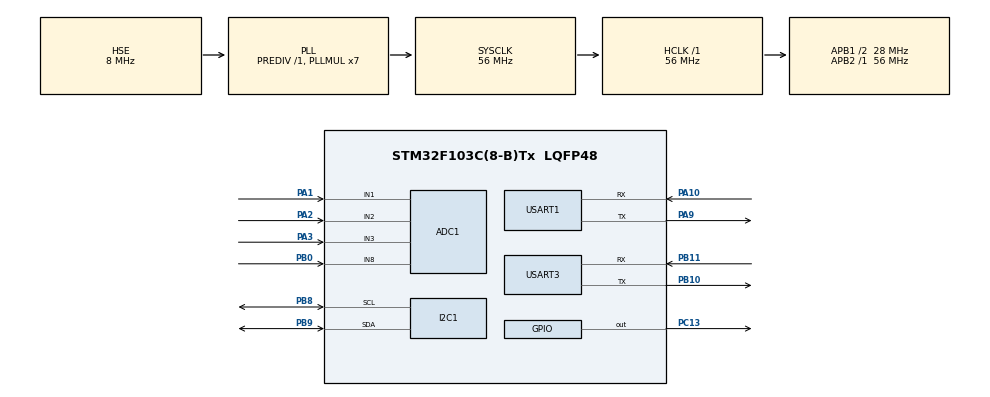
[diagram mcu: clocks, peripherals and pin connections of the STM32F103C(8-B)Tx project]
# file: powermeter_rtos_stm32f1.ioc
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ADC1.Channel-1\#ChannelRegularConversion=ADC_CHANNEL_1
ADC1.Channel-2\#ChannelRegularConversion=ADC_CHANNEL_2
ADC1.Channel-3\#ChannelRegularConversion=ADC_CHANNEL_3
ADC1.Channel-4\#ChannelRegularConversion=ADC_CHANNEL_8
ADC1.ContinuousConvMode=ENABLE
ADC1.NbrOfConversion=4
ADC1.NbrOfConversionFlag=1
ADC1.Rank-1\#ChannelRegularConversion=1
ADC1.Rank-2\#ChannelRegularConversion=2
ADC1.Rank-3\#ChannelRegularConversion=3
ADC1.Rank-4\#ChannelRegularConversion=4
ADC1.SamplingTime-1\#ChannelRegularConversion=ADC_SAMPLETIME_28CYCLES_5
ADC1.SamplingTime-2\#ChannelRegularConversion=ADC_SAMPLETIME_28CYCLES_5
ADC1.SamplingTime-3\#ChannelRegularConversion=ADC_SAMPLETIME_28CYCLES_5
ADC1.SamplingTime-4\#ChannelRegularConversion=ADC_SAMPLETIME_28CYCLES_5
ADC1.master=1
Dma.ADC1.0.Direction=DMA_PERIPH_TO_MEMORY
Dma.ADC1.0.Instance=DMA1_Channel1
Dma.ADC1.0.MemDataAlignment=DMA_MDATAALIGN_WORD
Dma.ADC1.0.MemInc=DMA_MINC_ENABLE
Dma.ADC1.0.Mode=DMA_CIRCULAR
Dma.ADC1.0.PeriphDataAlignment=DMA_PDATAALIGN_WORD
Dma.ADC1.0.PeriphInc=DMA_PINC_DISABLE
Dma.ADC1.0.Priority=DMA_PRIORITY_HIGH
Dma.Request0=ADC1
FREERTOS.Tasks01=task_ADC,0,128,StartADC,Default,NULL,Dynamic,NULL,NULL;task_nextion,-1,128,StartNextion,Default,NULL,Dynamic,NULL,NULL;task_bluetooth,-2,128,StartBluetooth,Default,NULL,Dynamic,NULL,NULL
FREERTOS.configUSE_NEWLIB_REENTRANT=1
I2C1.I2C_Mode=I2C_Fast
Mcu.Family=STM32F1
Mcu.Name=STM32F103C(8-B)Tx
Mcu.Package=LQFP48
NVIC.DMA1_Channel1_IRQn=true\:5\:0\:false\:false\:true\:true\:false\:true\:true
NVIC.PriorityGroup=NVIC_PRIORITYGROUP_4
NVIC.TIM3_IRQn=true\:15\:0\:false\:false\:true\:false\:false\:true\:true
NVIC.TimeBase=TIM3_IRQn
NVIC.TimeBaseIP=TIM3
NVIC.USART1_IRQn=true\:5\:0\:false\:false\:true\:true\:true\:true\:true
PA1.Signal=ADCx_IN1
PA10.Mode=Asynchronous
PA10.Signal=USART1_RX
PA2.Signal=ADCx_IN2
PA3.Signal=ADCx_IN3
PA9.Mode=Asynchronous
PA9.Signal=USART1_TX
PB0.Signal=ADCx_IN8
PB10.Mode=Asynchronous
PB10.Signal=USART3_TX
PB11.Mode=Asynchronous
PB11.Signal=USART3_RX
PB8.Mode=I2C
PB8.Signal=I2C1_SCL
PB9.Mode=I2C
PB9.Signal=I2C1_SDA
PC13-TAMPER-RTC.Signal=GPIO_Output
PD0-OSC_IN.Mode=HSE-External-Oscillator
PD0-OSC_IN.Signal=RCC_OSC_IN
PD1-OSC_OUT.Mode=HSE-External-Oscillator
PD1-OSC_OUT.Signal=RCC_OSC_OUT
ProjectManager.HeapSize=0x200
ProjectManager.StackSize=0x400
ProjectManager.TargetToolchain=STM32CubeIDE
RCC.ADCPresc=RCC_ADCPCLK2_DIV4
RCC.AHBFreq_Value=56000000
RCC.APB1CLKDivider=RCC_HCLK_DIV2
RCC.APB1Freq_Value=28000000
RCC.APB1TimFreq_Value=56000000
RCC.APB2Freq_Value=56000000
RCC.APB2TimFreq_Value=56000000
RCC.HCLKFreq_Value=56000000
RCC.PLLMUL=RCC_PLL_MUL7
RCC.PLLSourceVirtual=RCC_PLLSOURCE_HSE
RCC.SYSCLKFreq_VALUE=56000000
RCC.SYSCLKSource=RCC_SYSCLKSOURCE_PLLCLK
RCC.USBFreq_Value=56000000
SH.ADCx_IN1.0=ADC1_IN1,IN1
SH.ADCx_IN2.0=ADC1_IN2,IN2
SH.ADCx_IN3.0=ADC1_IN3,IN3
SH.ADCx_IN8.0=ADC1_IN8,IN8
USART1.VirtualMode=VM_ASYNC
USART3.VirtualMode=VM_ASYNC
VP_FREERTOS_VS_CMSIS_V1.Mode=CMSIS_V1
VP_SYS_VS_ND.Mode=No_Debug
VP_SYS_VS_tim3.Mode=TIM3
board=custom

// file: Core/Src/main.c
/* USER CODE BEGIN Header */
/**
 ******************************************************************************
 * @file           : main.c
 * @brief          : Main program body
 ******************************************************************************
 * @attention
 *
 * Copyright (c) 2023 STMicroelectronics.
 * All rights reserved.
 *
 * This software is licensed under terms that can be found in the LICENSE file
 * in the root directory of this software component.
 * If no LICENSE file comes with this software, it is provided AS-IS.
 *
 ******************************************************************************
 */
/* USER CODE END Header */
#include "main.h"
#include "cmsis_os.h"

/* USER CODE BEGIN Includes */
#include <stdio.h>
/* USER CODE END Includes */

/* USER CODE BEGIN PD */
#define DS3231 0x68 //timer
/* USER CODE END PD */

ADC_HandleTypeDef hadc1;
DMA_HandleTypeDef hdma_adc1;

I2C_HandleTypeDef hi2c1;

UART_HandleTypeDef huart1;
UART_HandleTypeDef huart3;

osThreadId task_ADCHandle;
osThreadId task_nextionHandle;
osThreadId task_bluetoothHandle;
/* USER CODE BEGIN PV */
#ifdef __GNUC__
#define PUTCHAR_PROTOTYPE int __io_putchar(int ch)
#else
#define PUTCHAR_PROTOTYPE int fputc(int ch, FILE *f)
#endif

PUTCHAR_PROTOTYPE {
	HAL_UART_Transmit(&huart3, (uint8_t*) &ch, 1, HAL_MAX_DELAY);
	return ch;
}
uint32_t value[4];//adc channels
uint16_t AC_AMP = 0;
uint16_t AC_VOLT = 0;
uint16_t DC_AMP = 0;
uint16_t DC_VOLT = 0;
uint8_t Cmd_End[] = { 0xff, 0xff, 0xff };
uint16_t delay_sec = 100;
uint8_t rx_buff[7];
uint8_t DEVID = 0;
uint8_t time_buff[7];
typedef struct {
	uint8_t seconds;
	uint8_t minutes;
	uint8_t hour;
	uint8_t dayofweek;
	uint8_t dayofmonth;
	uint8_t month;
	uint8_t year;
} TIME;

TIME time;
char buffer[50]; //save formated messag

uint8_t tempBuff[2];
float TEMP; //protect with mutex
float filter_AC_AMP = 0; //protect with mutex
float filter_AC_VOLT = 0; //protect with mutex
float filter_DC_AMP = 0; //protect with mutex
float filter_DC_VOLT = 0; //protect with mutex

static SemaphoreHandle_t fac_amp_mutex;
static SemaphoreHandle_t fac_volt_mutex;
static SemaphoreHandle_t fdc_amp_mutex;
static SemaphoreHandle_t fdc_volt_mutex;

ADC_ChannelConfTypeDef sConfig = { 0 };

/* USER CODE END PV */

void SystemClock_Config(void);
static void MX_GPIO_Init(void);
static void MX_DMA_Init(void);
static void MX_ADC1_Init(void);
static void MX_I2C1_Init(void);
static void MX_USART1_UART_Init(void);
static void MX_USART3_UART_Init(void);
void StartADC(void const * argument);
void StartNextion(void const * argument);
void StartBluetooth(void const * argument);

/* USER CODE BEGIN 0 */
void NEXTION_SendString(char *ID, char *string) {
	char buf[50];
	int len = sprintf(buf, "%s.txt=\"%s\"", ID, string);
	HAL_UART_Transmit(&huart1, (uint8_t*) buf, len, 1000);
	HAL_UART_Transmit(&huart1, Cmd_End, 3, 100);
}
void NEXTION_SendValue(char *ID, int value) {
	char buf[50];
	int len = sprintf(buf, "%s.val=%d", ID, value);
	HAL_UART_Transmit(&huart1, (uint8_t*) buf, len, 1000);
	HAL_UART_Transmit(&huart1, Cmd_End, 3, 100);
}
void NEXTION_SendGraphicValue(int id, int ch, int val) {
	char buf[50];
	int len = sprintf(buf, "add %d,%d,%d", id, ch, val);
	HAL_UART_Transmit(&huart1, (uint8_t*) buf, len, 1000);
	HAL_UART_Transmit(&huart1, Cmd_End, 3, 100);
}

int map_range(int OldValue, int OldMax, int OldMin, int NewMax, int NewMin) {

	return (((OldValue - OldMin) * (NewMax - NewMin)) / (OldMax - OldMin))
			+ NewMin;
}

// Convert normal decimal numbers to binary coded decimal
uint8_t decToBcd(int val);
// Convert binary coded decimal to normal decimal numbers
int bcdToDec(uint8_t val);
void Set_Time(I2C_HandleTypeDef i2c_hdl, uint16_t address, uint8_t sec,
		uint8_t min, uint8_t hour, uint8_t dow, uint8_t dom, uint8_t month,
		uint16_t year);
void Get_Time(I2C_HandleTypeDef i2c_hdl, uint16_t address, uint8_t *get_time);

void force_temp_conv(I2C_HandleTypeDef i2c_hdl, uint16_t address);
float Get_Temp(I2C_HandleTypeDef i2c_hdl, uint16_t address, uint8_t *temp);

/* USER CODE END 0 */

int main(void)
{

  /* MCU Configuration--------------------------------------------------------*/

  /* Reset of all peripherals, Initializes the Flash interface and the Systick. */
  HAL_Init();

  /* Configure the system clock */
  SystemClock_Config();

  /* Initialize all configured peripherals */
  MX_GPIO_Init();
  MX_DMA_Init();
  MX_ADC1_Init();
  MX_I2C1_Init();
  MX_USART1_UART_Init();
  MX_USART3_UART_Init();
  /* USER CODE BEGIN 2 */
  HAL_ADC_Start_DMA(&hadc1, value, 4);
  /* USER CODE END 2 */

  /* USER CODE BEGIN RTOS_SEMAPHORES */
	/* add semaphores, ... */
	fac_amp_mutex = xSemaphoreCreateMutex();
	fac_volt_mutex = xSemaphoreCreateMutex();
	fdc_amp_mutex = xSemaphoreCreateMutex();
	fdc_volt_mutex = xSemaphoreCreateMutex();
  /* USER CODE END RTOS_SEMAPHORES */

  /* Create the thread(s) */
  /* definition and creation of task_ADC */
  osThreadDef(task_ADC, StartADC, osPriorityNormal, 0, 128);
  task_ADCHandle = osThreadCreate(osThread(task_ADC), NULL);

  /* definition and creation of task_nextion */
  osThreadDef(task_nextion, StartNextion, osPriorityBelowNormal, 0, 128);
  task_nextionHandle = osThreadCreate(osThread(task_nextion), NULL);

  /* definition and creation of task_bluetooth */
  osThreadDef(task_bluetooth, StartBluetooth, osPriorityLow, 0, 128);
  task_bluetoothHandle = osThreadCreate(osThread(task_bluetooth), NULL);

  /* Start scheduler */
  osKernelStart();

  /* We should never get here as control is now taken by the scheduler */
  /* Infinite loop */
	while (1) {

	}
}

void SystemClock_Config(void)
{
  RCC_OscInitTypeDef RCC_OscInitStruct = {0};
  RCC_ClkInitTypeDef RCC_ClkInitStruct = {0};
  RCC_PeriphCLKInitTypeDef PeriphClkInit = {0};

  /** Initializes the RCC Oscillators according to the specified parameters
  * in the RCC_OscInitTypeDef structure.
  */
  RCC_OscInitStruct.OscillatorType = RCC_OSCILLATORTYPE_HSE;
  RCC_OscInitStruct.HSEState = RCC_HSE_ON;
  RCC_OscInitStruct.HSEPredivValue = RCC_HSE_PREDIV_DIV1;
  RCC_OscInitStruct.HSIState = RCC_HSI_ON;
  RCC_OscInitStruct.PLL.PLLState = RCC_PLL_ON;
  RCC_OscInitStruct.PLL.PLLSource = RCC_PLLSOURCE_HSE;
  RCC_OscInitStruct.PLL.PLLMUL = RCC_PLL_MUL7;
  if (HAL_RCC_OscConfig(&RCC_OscInitStruct) != HAL_OK)
  {
    Error_Handler();
  }

  /** Initializes the CPU, AHB and APB buses clocks
  */
  RCC_ClkInitStruct.ClockType = RCC_CLOCKTYPE_HCLK|RCC_CLOCKTYPE_SYSCLK
                              |RCC_CLOCKTYPE_PCLK1|RCC_CLOCKTYPE_PCLK2;
  RCC_ClkInitStruct.SYSCLKSource = RCC_SYSCLKSOURCE_PLLCLK;
  RCC_ClkInitStruct.AHBCLKDivider = RCC_SYSCLK_DIV1;
  RCC_ClkInitStruct.APB1CLKDivider = RCC_HCLK_DIV2;
  RCC_ClkInitStruct.APB2CLKDivider = RCC_HCLK_DIV1;

  if (HAL_RCC_ClockConfig(&RCC_ClkInitStruct, FLASH_LATENCY_2) != HAL_OK)
  {
    Error_Handler();
  }
  PeriphClkInit.PeriphClockSelection = RCC_PERIPHCLK_ADC;
  PeriphClkInit.AdcClockSelection = RCC_ADCPCLK2_DIV4;
  if (HAL_RCCEx_PeriphCLKConfig(&PeriphClkInit) != HAL_OK)
  {
    Error_Handler();
  }
}

static void MX_ADC1_Init(void)
{

  ADC_ChannelConfTypeDef sConfig = {0};

  /** Common config
  */
  hadc1.Instance = ADC1;
  hadc1.Init.ScanConvMode = ADC_SCAN_ENABLE;
  hadc1.Init.ContinuousConvMode = ENABLE;
  hadc1.Init.DiscontinuousConvMode = DISABLE;
  hadc1.Init.ExternalTrigConv = ADC_SOFTWARE_START;
  hadc1.Init.DataAlign = ADC_DATAALIGN_RIGHT;
  hadc1.Init.NbrOfConversion = 4;
  if (HAL_ADC_Init(&hadc1) != HAL_OK)
  {
    Error_Handler();
  }

  /** Configure Regular Channel
  */
  sConfig.Channel = ADC_CHANNEL_1;
  sConfig.Rank = ADC_REGULAR_RANK_1;
  sConfig.SamplingTime = ADC_SAMPLETIME_28CYCLES_5;
  if (HAL_ADC_ConfigChannel(&hadc1, &sConfig) != HAL_OK)
  {
    Error_Handler();
  }

  /** Configure Regular Channel
  */
  sConfig.Channel = ADC_CHANNEL_2;
  sConfig.Rank = ADC_REGULAR_RANK_2;
  if (HAL_ADC_ConfigChannel(&hadc1, &sConfig) != HAL_OK)
  {
    Error_Handler();
  }

  /** Configure Regular Channel
  */
  sConfig.Channel = ADC_CHANNEL_3;
  sConfig.Rank = ADC_REGULAR_RANK_3;
  if (HAL_ADC_ConfigChannel(&hadc1, &sConfig) != HAL_OK)
  {
    Error_Handler();
  }

  /** Configure Regular Channel
  */
  sConfig.Channel = ADC_CHANNEL_8;
  sConfig.Rank = ADC_REGULAR_RANK_4;
  if (HAL_ADC_ConfigChannel(&hadc1, &sConfig) != HAL_OK)
  {
    Error_Handler();
  }

}

static void MX_I2C1_Init(void)
{

  hi2c1.Instance = I2C1;
  hi2c1.Init.ClockSpeed = 400000;
  hi2c1.Init.DutyCycle = I2C_DUTYCYCLE_2;
  hi2c1.Init.OwnAddress1 = 0;
  hi2c1.Init.AddressingMode = I2C_ADDRESSINGMODE_7BIT;
  hi2c1.Init.DualAddressMode = I2C_DUALADDRESS_DISABLE;
  hi2c1.Init.OwnAddress2 = 0;
  hi2c1.Init.GeneralCallMode = I2C_GENERALCALL_DISABLE;
  hi2c1.Init.NoStretchMode = I2C_NOSTRETCH_DISABLE;
  if (HAL_I2C_Init(&hi2c1) != HAL_OK)
  {
    Error_Handler();
  }

}

static void MX_USART1_UART_Init(void)
{

  huart1.Instance = USART1;
  huart1.Init.BaudRate = 115200;
  huart1.Init.WordLength = UART_WORDLENGTH_8B;
  huart1.Init.StopBits = UART_STOPBITS_1;
  huart1.Init.Parity = UART_PARITY_NONE;
  huart1.Init.Mode = UART_MODE_TX_RX;
  huart1.Init.HwFlowCtl = UART_HWCONTROL_NONE;
  huart1.Init.OverSampling = UART_OVERSAMPLING_16;
  if (HAL_UART_Init(&huart1) != HAL_OK)
  {
    Error_Handler();
  }

}

static void MX_USART3_UART_Init(void)
{

  huart3.Instance = USART3;
  huart3.Init.BaudRate = 115200;
  huart3.Init.WordLength = UART_WORDLENGTH_8B;
  huart3.Init.StopBits = UART_STOPBITS_1;
  huart3.Init.Parity = UART_PARITY_NONE;
  huart3.Init.Mode = UART_MODE_TX_RX;
  huart3.Init.HwFlowCtl = UART_HWCONTROL_NONE;
  huart3.Init.OverSampling = UART_OVERSAMPLING_16;
  if (HAL_UART_Init(&huart3) != HAL_OK)
  {
    Error_Handler();
  }

}

static void MX_DMA_Init(void)
{

  /* DMA controller clock enable */
  __HAL_RCC_DMA1_CLK_ENABLE();

  /* DMA interrupt init */
  /* DMA1_Channel1_IRQn interrupt configuration */
  HAL_NVIC_SetPriority(DMA1_Channel1_IRQn, 5, 0);
  HAL_NVIC_EnableIRQ(DMA1_Channel1_IRQn);

}

static void MX_GPIO_Init(void)
{
  GPIO_InitTypeDef GPIO_InitStruct = {0};

  /* GPIO Ports Clock Enable */
  __HAL_RCC_GPIOC_CLK_ENABLE();
  __HAL_RCC_GPIOD_CLK_ENABLE();
  __HAL_RCC_GPIOA_CLK_ENABLE();
  __HAL_RCC_GPIOB_CLK_ENABLE();

  /*Configure GPIO pin Output Level */
  HAL_GPIO_WritePin(GPIOC, GPIO_PIN_13, GPIO_PIN_RESET);

  /*Configure GPIO pin : PC13 */
  GPIO_InitStruct.Pin = GPIO_PIN_13;
  GPIO_InitStruct.Mode = GPIO_MODE_OUTPUT_PP;
  GPIO_InitStruct.Pull = GPIO_NOPULL;
  GPIO_InitStruct.Speed = GPIO_SPEED_FREQ_LOW;
  HAL_GPIO_Init(GPIOC, &GPIO_InitStruct);

}

/* USER CODE BEGIN 4 */
void HAL_ADC_ConvCpltCallback(ADC_HandleTypeDef * hadc){
	//HAL_GPIO_TogglePin(GPIOC, GPIO_PIN_13);
	//printf("value[0]: %ld \n",value[0]);
}
void Set_Time(I2C_HandleTypeDef i2c_hdl, uint16_t address, uint8_t sec,
		uint8_t min, uint8_t hour, uint8_t dow, uint8_t dom, uint8_t month,
		uint16_t year) {
	uint8_t set_time[7];
	set_time[0] = decToBcd(sec);
	set_time[1] = decToBcd(min);
	set_time[2] = decToBcd(hour);
	set_time[3] = decToBcd(dow);
	set_time[4] = decToBcd(dom);
	set_time[5] = decToBcd(month);
	set_time[6] = decToBcd(year);

	HAL_I2C_Mem_Write(&i2c_hdl, address, 0x00, 1, set_time, 7, 1000);
}
void Get_Time(I2C_HandleTypeDef i2c_hdl, uint16_t address, uint8_t *get_time) {

	HAL_I2C_Mem_Read(&i2c_hdl, address, 0x00, 1, get_time, 7, 1000);
	time.seconds = bcdToDec(get_time[0]);
	time.minutes = bcdToDec(get_time[1]);
	time.hour = bcdToDec(get_time[2]);
	time.dayofweek = bcdToDec(get_time[3]);
	time.dayofmonth = bcdToDec(get_time[4]);
	time.month = bcdToDec(get_time[5]);
	time.year = bcdToDec(get_time[6]);
}
uint8_t decToBcd(int val) {
	return (uint8_t) ((val / 10 * 16) + (val % 10));
}
// Convert binary coded decimal to normal decimal numbers
int bcdToDec(uint8_t val) {
	return (int) ((val / 16 * 10) + (val % 16));
}

float Get_Temp(I2C_HandleTypeDef i2c_hdl, uint16_t address, uint8_t *temp) {

	HAL_I2C_Mem_Read(&i2c_hdl, address, 0x11, 1, temp, 2, 1000);
	return ((temp[0]) + (temp[1] >> 6) / 4.0);
}
void force_temp_conv(I2C_HandleTypeDef i2c_hdl, uint16_t address) {
	uint8_t status = 0;
	uint8_t control = 0;
	HAL_I2C_Mem_Read(&i2c_hdl, address, 0x0F, 1, &status, 1, 100); // read status register
	if (!(status & 0x04))  // if the BSY bit is not set
	{
		HAL_I2C_Mem_Read(&i2c_hdl, address, 0x0E, 1, &control, 1, 100); // read control register
		HAL_I2C_Mem_Write(&i2c_hdl, address, 0x0E, 1,
				(uint8_t*) (control | (0x20)), 1, 100); // write modified control register with CONV bit as'1'
	}
}

void HAL_UART_RxCpltCallback(UART_HandleTypeDef *huart) {

	printf("\r\nLlego: %c %c \r\n", rx_buff[0],rx_buff[1]);
	if (rx_buff[0] == '$' && rx_buff[1] == '1') {
		delay_sec = 100;

	}

	if (rx_buff[0] == '$' && rx_buff[2] == '1') {

		delay_sec = 1000;

	}

	if (rx_buff[0] == '$' && rx_buff[3] == '1') {

		delay_sec = 10000;

	}
	//HAL_UART_Transmit(&huart1, (uint8_t*) rx_buff, sizeof(rx_buff), 1000);
	//HAL_GPIO_TogglePin(GPIOC, GPIO_PIN_13);
	HAL_UART_Receive_IT(&huart1, rx_buff, sizeof(rx_buff));
}
/* USER CODE END 4 */

void StartADC(void const * argument)
{
  /* USER CODE BEGIN 5 */
	float ac_amp_prev = 0;
	float ac_volt_prev = 0;
	float dc_amp_prev = 0;
	float dc_volt_prev = 0;

	float a = 0.1;

	HAL_ADCEx_Calibration_Start(&hadc1);

	/* Infinite loop */
	for (;;) {

		//xSemaphoreTake(fac_amp_mutex, portMAX_DELAY);
		filter_AC_AMP = (1 - a) * ac_amp_prev + value[0] * a;
		ac_amp_prev = filter_AC_AMP;

		//xSemaphoreGive(fac_amp_mutex);

		filter_AC_VOLT = (1 - a) * ac_volt_prev + value[1]* a;
		ac_volt_prev = filter_AC_VOLT;

		filter_DC_AMP = (1 - a) * dc_amp_prev + value[2] * a;
		dc_amp_prev = filter_DC_AMP ;

		filter_DC_VOLT = (1 - a) * dc_volt_prev + value[3]* a;
		dc_volt_prev= filter_DC_VOLT;
		//printf("\r\tvale[0]: %ld \tvale[1]: %ld\tvale[2]: %ld\tvale[3]: %ld\r\n",value[0],value[1],value[2],value[3]);

		osDelay(1);
	}
  /* USER CODE END 5 */
}

void StartNextion(void const * argument)
{
  /* USER CODE BEGIN StartNextion */

	uint8_t mapped = 0;
	uint8_t year = 23;
	uint8_t month = 1;
	uint8_t dm = 30;
	uint8_t dw = 1;
	uint8_t hour = 21;
	uint8_t min = 12;
	uint8_t sec = 00;

	//Set_Time(hi2c1, (uint16_t) DS3231 << 1, sec, min, hour, dw, dm, month,
			//year);
	printf("Nextion Thread Started\n");
	osDelay(100);
	//__HAL_UART_ENABLE_IT(&huart1, UART_IT_RXNE);

	/* Infinite loop */
	for (;;) {

		//HAL_UART_Receive_IT(&huart1, rx_buff, sizeof(rx_buff));
		mapped = map_range((uint16_t)filter_AC_AMP, 4095, 0, 255, 0);
		NEXTION_SendValue("x0", mapped);
		NEXTION_SendGraphicValue(7, 0, mapped);
		mapped = map_range((uint16_t)filter_AC_VOLT, 4095, 0, 255, 0);
		NEXTION_SendValue("x1", mapped);
		NEXTION_SendGraphicValue(7, 1, mapped);
		mapped = map_range((uint16_t)filter_DC_AMP, 4095, 0, 255, 0);
		NEXTION_SendValue("x2", mapped);
		NEXTION_SendGraphicValue(7, 2, mapped);
		mapped = map_range((uint16_t)filter_DC_VOLT, 4095, 0, 255, 0);
		NEXTION_SendValue("x3", mapped);
		NEXTION_SendGraphicValue(7, 3, mapped);

		//Get_Time(hi2c1, (uint16_t) DS3231 << 1, time_buff);
		/*
		sprintf(buffer, "%02d/%02d/20%02d %02d:%02d:%02d", time.dayofmonth,
				time.month, time.year, time.hour, time.minutes, time.seconds);
		NEXTION_SendString("t1", buffer);

		printf("\r\n%s\r\n", buffer);
		*/
		switch (delay_sec) {
		case 100:
			NEXTION_SendString("t0", "delay 0.1sec");
			break;
		case 1000:
			NEXTION_SendString("t0", "delay 1sec");
			break;
		case 10000:
			NEXTION_SendString("t0", "delay 10sec");
			break;
		default:
			NEXTION_SendString("t0", "unknown");
			break;

		}

		osDelay(delay_sec);
	}
  /* USER CODE END StartNextion */
}

void StartBluetooth(void const * argument)
{
  /* USER CODE BEGIN StartBluetooth */

	/* Infinite loop */
	for (;;) {

		HAL_GPIO_TogglePin(GPIOC, GPIO_PIN_13);
		osDelay(100);
	}
  /* USER CODE END StartBluetooth */
}

void HAL_TIM_PeriodElapsedCallback(TIM_HandleTypeDef *htim)
{
  if (htim->Instance == TIM3) {
    HAL_IncTick();
  }
}

void Error_Handler(void)
{
	__disable_irq();
	while (1) {
	}
}
